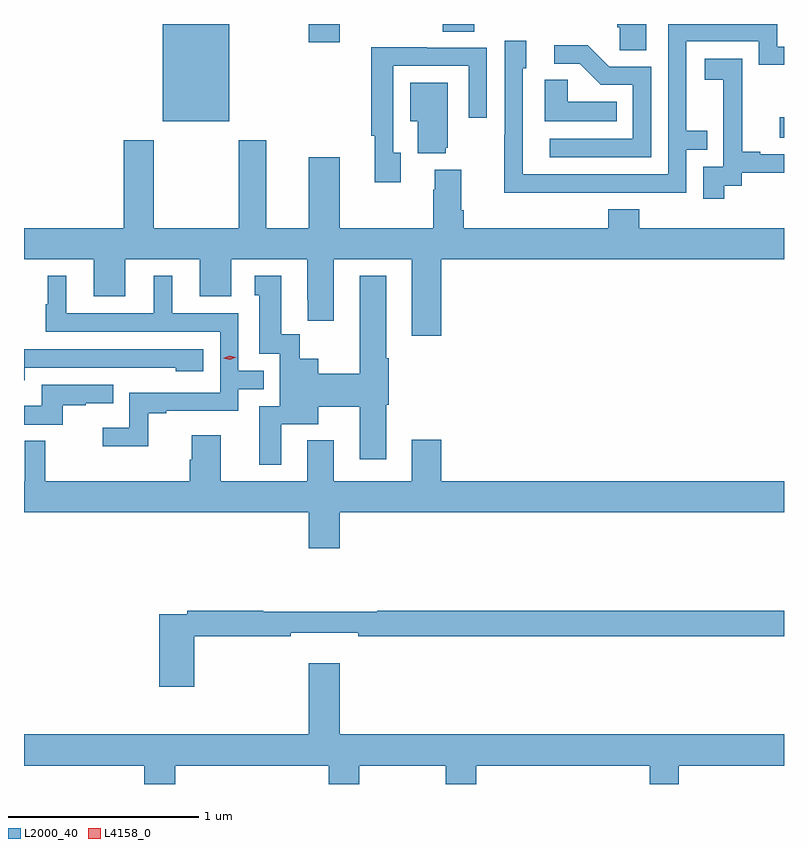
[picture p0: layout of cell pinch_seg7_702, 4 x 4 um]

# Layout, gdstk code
import gdstk
lib = gdstk.Library(unit=1e-6, precision=1e-09)
def R(c, l, rs):  # rectangles x0, y0, x1, y1
    for r in rs: c.add(gdstk.rectangle(r[:2], r[2:], *l))
def P(c, l, *ps):  # polygons
    for p in ps: c.add(gdstk.Polygon(p, *l))
L2000_40 = (2000, 40)
L4158_0 = (4158, 0)

pinch_seg7_702 = lib.new_cell('pinch_seg7_702')
R(pinch_seg7_702, L2000_40, [(359.295,1026.564,359.317,1026.673), (356.048,1026.65,356.398,1027.163), (356.816,1027.068,356.98,1027.163), (357.521,1027.123,357.686,1027.163)])
P(pinch_seg7_702, L2000_40, [(358.591,1027.163),(358.439,1027.163),(358.439,1027.147),(358.452,1027.147),(358.452,1027.024),(358.591,1027.024)],
  [(358.307,1026.276),(358.803,1026.276),(358.803,1026.501),(358.913,1026.501),(358.913,1026.602),(358.803,1026.602),(358.803,1027.071),(359.184,1027.071),(359.184,1026.948),(359.317,1026.948),(359.317,1027.044),(359.281,1027.044),(359.281,1027.163),(358.707,1027.163),(358.707,1026.372),(357.942,1026.372),(357.942,1026.93),(357.961,1026.93),(357.961,1027.075),(357.846,1027.075),(357.846,1026.581),(357.844,1026.581),(357.844,1026.275),(358.307,1026.275)],
  [(358.617,1026.939),(358.398,1026.939),(358.285,1027.052),(358.107,1027.052),(358.107,1026.954),(358.241,1026.954),(358.352,1026.843),(358.521,1026.843),(358.521,1026.558),(358.083,1026.558),(358.083,1026.462),(358.617,1026.462)],
  [(357.301,1026.486),(357.261,1026.486),(357.261,1026.942),(357.657,1026.942),(357.657,1026.669),(357.753,1026.669),(357.753,1027.038),(357.437,1027.038),(357.437,1027.04),(357.145,1027.04),(357.145,1026.574),(357.164,1026.574),(357.164,1026.33),(357.301,1026.33)],
  [(359.002,1026.313),(359.094,1026.313),(359.094,1026.381),(359.317,1026.381),(359.317,1026.477),(359.191,1026.477),(359.191,1026.49),(359.096,1026.49),(359.096,1026.773),(359.097,1026.773),(359.097,1026.979),(358.899,1026.979),(358.899,1026.869),(358.997,1026.869),(358.997,1026.641),(358.998,1026.641),(358.998,1026.411),(358.893,1026.411),(358.893,1026.243),(359.002,1026.243)],
  [(358.436,1026.754),(358.179,1026.754),(358.179,1026.869),(358.058,1026.869),(358.058,1026.65),(358.436,1026.65)],
  [(357.536,1026.513),(357.547,1026.513),(357.547,1026.853),(357.35,1026.853),(357.35,1026.65),(357.389,1026.65),(357.389,1026.482),(357.536,1026.482)],
  [(357.512,1025.924),(359.317,1025.924),(359.317,1026.088),(358.556,1026.088),(358.556,1026.187),(358.391,1026.187),(358.391,1026.088),(357.632,1026.088),(357.632,1026.184),(357.619,1026.184),(357.619,1026.397),(357.479,1026.397),(357.479,1026.29),(357.472,1026.29),(357.472,1026.088),(356.98,1026.088),(356.98,1026.463),(356.816,1026.463),(356.816,1026.088),(356.593,1026.088),(356.593,1026.55),(356.446,1026.55),(356.446,1026.088),(356.001,1026.088),(356.001,1026.55),(355.841,1026.55),(355.841,1026.088),(355.317,1026.088),(355.317,1025.924),(355.685,1025.924),(355.685,1025.73),(355.849,1025.73),(355.849,1025.924),(356.243,1025.924),(356.243,1025.73),(356.407,1025.73),(356.407,1025.924),(356.807,1025.924),(356.807,1025.713),(356.81,1025.713),(356.81,1025.601),(356.947,1025.601),(356.947,1025.924),(357.359,1025.924),(357.359,1025.523),(357.512,1025.523)],
  [(355.971,1025.115),(356.065,1025.115),(356.065,1025.127),(356.445,1025.127),(356.445,1025.241),(356.578,1025.241),(356.578,1025.337),(356.445,1025.337),(356.445,1025.64),(356.098,1025.64),(356.098,1025.839),(356,1025.839),(356,1025.64),(355.54,1025.64),(355.54,1025.839),(355.442,1025.839),(355.442,1025.688),(355.431,1025.688),(355.431,1025.544),(356.349,1025.544),(356.349,1025.223),(355.872,1025.223),(355.872,1025.038),(355.731,1025.038),(355.731,1024.94),(355.971,1024.94)],
  [(356.671,1025.057),(356.866,1025.057),(356.866,1025.149),(357.083,1025.149),(357.083,1024.872),(357.223,1024.872),(357.223,1025.16),(357.236,1025.16),(357.236,1025.404),(357.223,1025.404),(357.223,1025.839),(357.083,1025.839),(357.083,1025.321),(356.866,1025.321),(356.866,1025.401),(356.769,1025.401),(356.769,1025.531),(356.671,1025.531),(356.671,1025.839),(356.531,1025.839),(356.531,1025.736),(356.555,1025.736),(356.555,1025.427),(356.664,1025.427),(356.664,1025.151),(356.555,1025.151),(356.555,1024.842),(356.671,1024.842)],
  [(355.321,1025.355),(355.879,1025.355),(355.879,1025.354),(356.115,1025.354),(356.115,1025.336),(356.26,1025.336),(356.26,1025.451),(355.317,1025.451),(355.317,1025.288),(355.321,1025.288)],
  [(355.52,1025.157),(355.643,1025.157),(355.643,1025.168),(355.787,1025.168),(355.787,1025.265),(355.41,1025.265),(355.41,1025.153),(355.317,1025.153),(355.317,1025.055),(355.52,1025.055)],
  [(356.98,1024.592),(359.317,1024.592),(359.317,1024.756),(357.512,1024.756),(357.512,1024.975),(357.359,1024.975),(357.359,1024.756),(356.947,1024.756),(356.947,1024.972),(356.807,1024.972),(356.807,1024.756),(356.353,1024.756),(356.353,1024.999),(356.201,1024.999),(356.201,1024.869),(356.189,1024.869),(356.189,1024.756),(355.429,1024.756),(355.429,1024.97),(355.32,1024.97),(355.32,1024.756),(355.317,1024.756),(355.317,1024.592),(356.816,1024.592),(356.816,1024.404),(356.98,1024.404)],
  [(356.213,1023.94),(356.72,1023.94),(356.72,1023.959),(357.076,1023.959),(357.076,1023.94),(359.317,1023.94),(359.317,1024.076),(357.176,1024.076),(357.176,1024.069),(356.576,1024.069),(356.576,1024.076),(356.176,1024.076),(356.176,1024.056),(356.03,1024.056),(356.03,1023.675),(356.213,1023.675)],
  [(356.114,1023.26),(356.921,1023.26),(356.921,1023.163),(357.081,1023.163),(357.081,1023.26),(357.538,1023.26),(357.538,1023.163),(357.698,1023.163),(357.698,1023.26),(358.61,1023.26),(358.61,1023.163),(358.762,1023.163),(358.762,1023.26),(359.317,1023.26),(359.317,1023.424),(356.98,1023.424),(356.98,1023.799),(356.816,1023.799),(356.816,1023.424),(355.317,1023.424),(355.317,1023.26),(355.949,1023.26),(355.949,1023.163),(356.114,1023.163)])
P(pinch_seg7_702, L4158_0, [(356.4,1025.396),(356.365,1025.404),(356.365,1025.404),(356.365,1025.404),(356.398,1025.416),(356.434,1025.409),(356.434,1025.409),(356.434,1025.409)])

lib.write_gds('pinch_seg7_702.gds')
